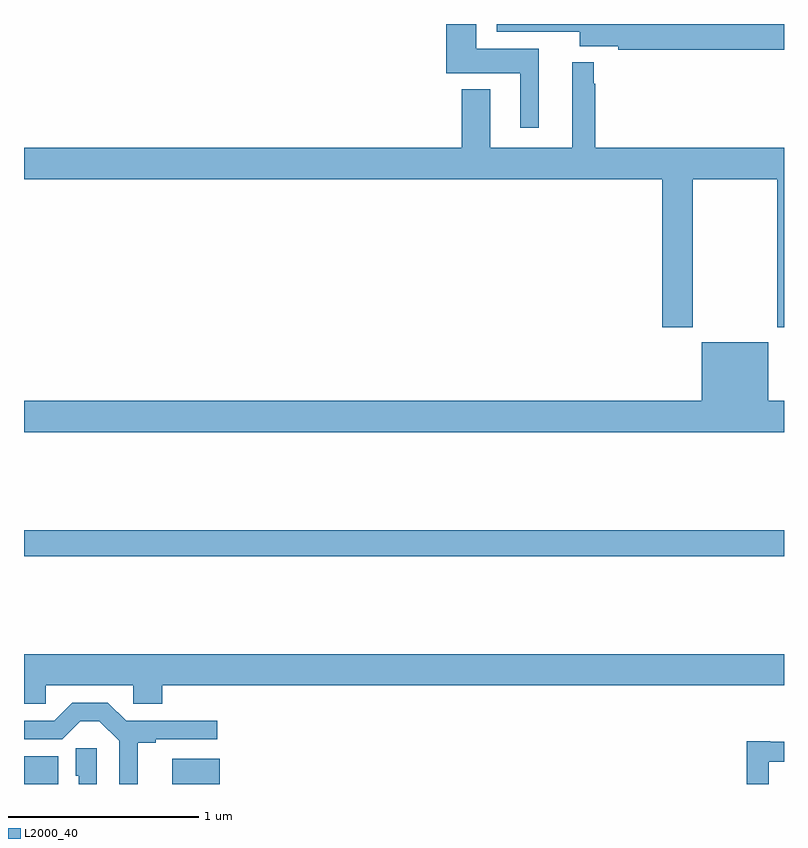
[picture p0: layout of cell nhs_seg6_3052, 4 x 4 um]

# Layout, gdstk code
import gdstk
lib = gdstk.Library(unit=1e-6, precision=1e-09)
def R(c, l, rs):  # rectangles x0, y0, x1, y1
    for r in rs: c.add(gdstk.rectangle(r[:2], r[2:], *l))
def P(c, l, *ps):  # polygons
    for p in ps: c.add(gdstk.Polygon(p, *l))
L2000_40 = (2000, 40)

nhs_seg6_3052 = lib.new_cell('nhs_seg6_3052')
R(nhs_seg6_3052, L2000_40, [(291,929.5,291.181,929.647), (291.779,929.5,292.03,929.632), (291,930.7,295,930.836)])
P(nhs_seg6_3052, L2000_40, [(293.71,933.37),(293.38,933.37),(293.38,933.5),(293.222,933.5),(293.222,933.242),(293.612,933.242),(293.612,932.955),(293.71,932.955)],
  [(295,933.5),(293.487,933.5),(293.487,933.459),(293.925,933.459),(293.925,933.384),(294.128,933.384),(294.128,933.364),(295,933.364)],
  [(294.519,932.684),(294.964,932.684),(294.964,931.905),(295,931.905),(295,932.848),(294.007,932.848),(294.007,933.185),(293.998,933.185),(293.998,933.298),(293.885,933.298),(293.885,932.848),(293.455,932.848),(293.455,933.157),(293.303,933.157),(293.303,932.848),(291,932.848),(291,932.684),(294.359,932.684),(294.359,931.905),(294.519,931.905)],
  [(295,931.516),(294.916,931.516),(294.916,931.825),(294.566,931.825),(294.566,931.516),(291,931.516),(291,931.352),(295,931.352)],
  [(291.114,930.02),(291.576,930.02),(291.576,929.922),(291.728,929.922),(291.728,930.02),(295,930.02),(295,930.184),(291,930.184),(291,929.922),(291.114,929.922)],
  [(291.599,929.716),(291.694,929.716),(291.694,929.736),(292.018,929.736),(292.018,929.834),(291.771,929.834),(291.771,929.832),(291.538,929.832),(291.442,929.928),(291.255,929.928),(291.159,929.832),(291,929.832),(291,929.736),(291.201,929.736),(291.296,929.831),(291.397,929.831),(291.501,929.727),(291.501,929.5),(291.599,929.5)],
  [(294.921,929.618),(295,929.618),(295,929.722),(294.928,929.722),(294.928,929.725),(294.805,929.725),(294.805,929.5),(294.921,929.5)],
  [(291.384,929.687),(291.272,929.687),(291.272,929.544),(291.288,929.544),(291.288,929.5),(291.384,929.5)])

lib.write_gds('nhs_seg6_3052.gds')
